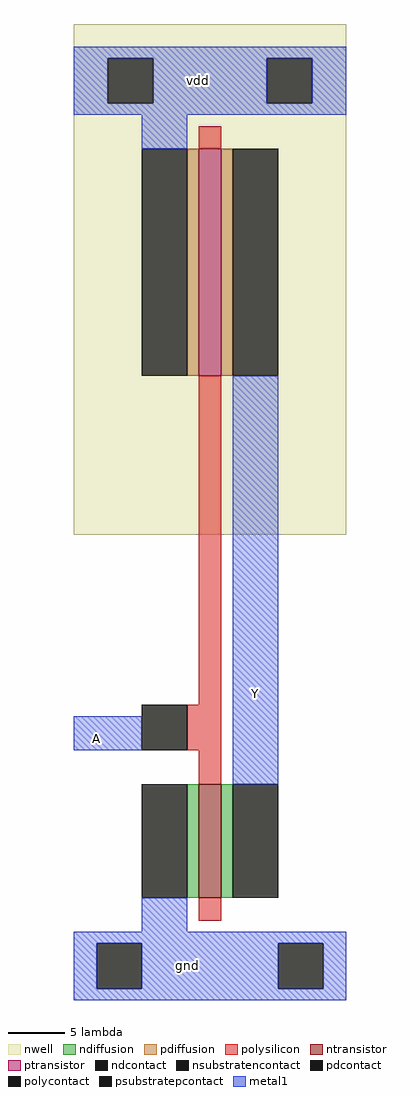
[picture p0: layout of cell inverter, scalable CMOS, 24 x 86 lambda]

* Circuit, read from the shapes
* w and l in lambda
.subckt inverter A Y gnd vdd
M1 Y A gnd gnd nfet w=10 l=2
M2 Y A vdd vdd pfet w=20 l=2
.ends

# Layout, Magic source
magic
tech scmos
<< nwell >>
rect -4 40 20 85
<< ntransistor >>
rect 7 8 9 18
<< ptransistor >>
rect 7 54 9 74
<< ndiffusion >>
rect 6 8 7 18
rect 9 8 10 18
<< pdiffusion >>
rect 6 54 7 74
rect 9 54 10 74
<< ndcontact >>
rect 2 8 6 18
rect 10 8 14 18
<< pdcontact >>
rect 2 54 6 74
rect 10 54 14 74
<< psubstratepcontact >>
rect -2 0 2 4
rect 14 0 18 4
<< nsubstratencontact >>
rect -1 78 3 82
rect 13 78 17 82
<< polysilicon >>
rect 7 74 9 76
rect 7 25 9 54
rect 6 21 9 25
rect 7 18 9 21
rect 7 6 9 8
<< polycontact >>
rect 2 21 6 25
<< metal1 >>
rect -4 82 20 83
rect -4 78 -1 82
rect 3 78 13 82
rect 17 78 20 82
rect -4 77 20 78
rect 2 74 6 77
rect -4 21 2 24
rect 10 18 14 54
rect 2 5 6 8
rect -4 4 20 5
rect -4 0 -2 4
rect 2 0 14 4
rect 18 0 20 4
rect -4 -1 20 0
<< labels >>
rlabel metal1 6 2 6 2 8 gnd
rlabel metal1 12 26 12 26 1 Y
rlabel metal1 7 80 7 80 6 vdd
rlabel metal1 -2 22 -2 22 3 A
<< end >>
